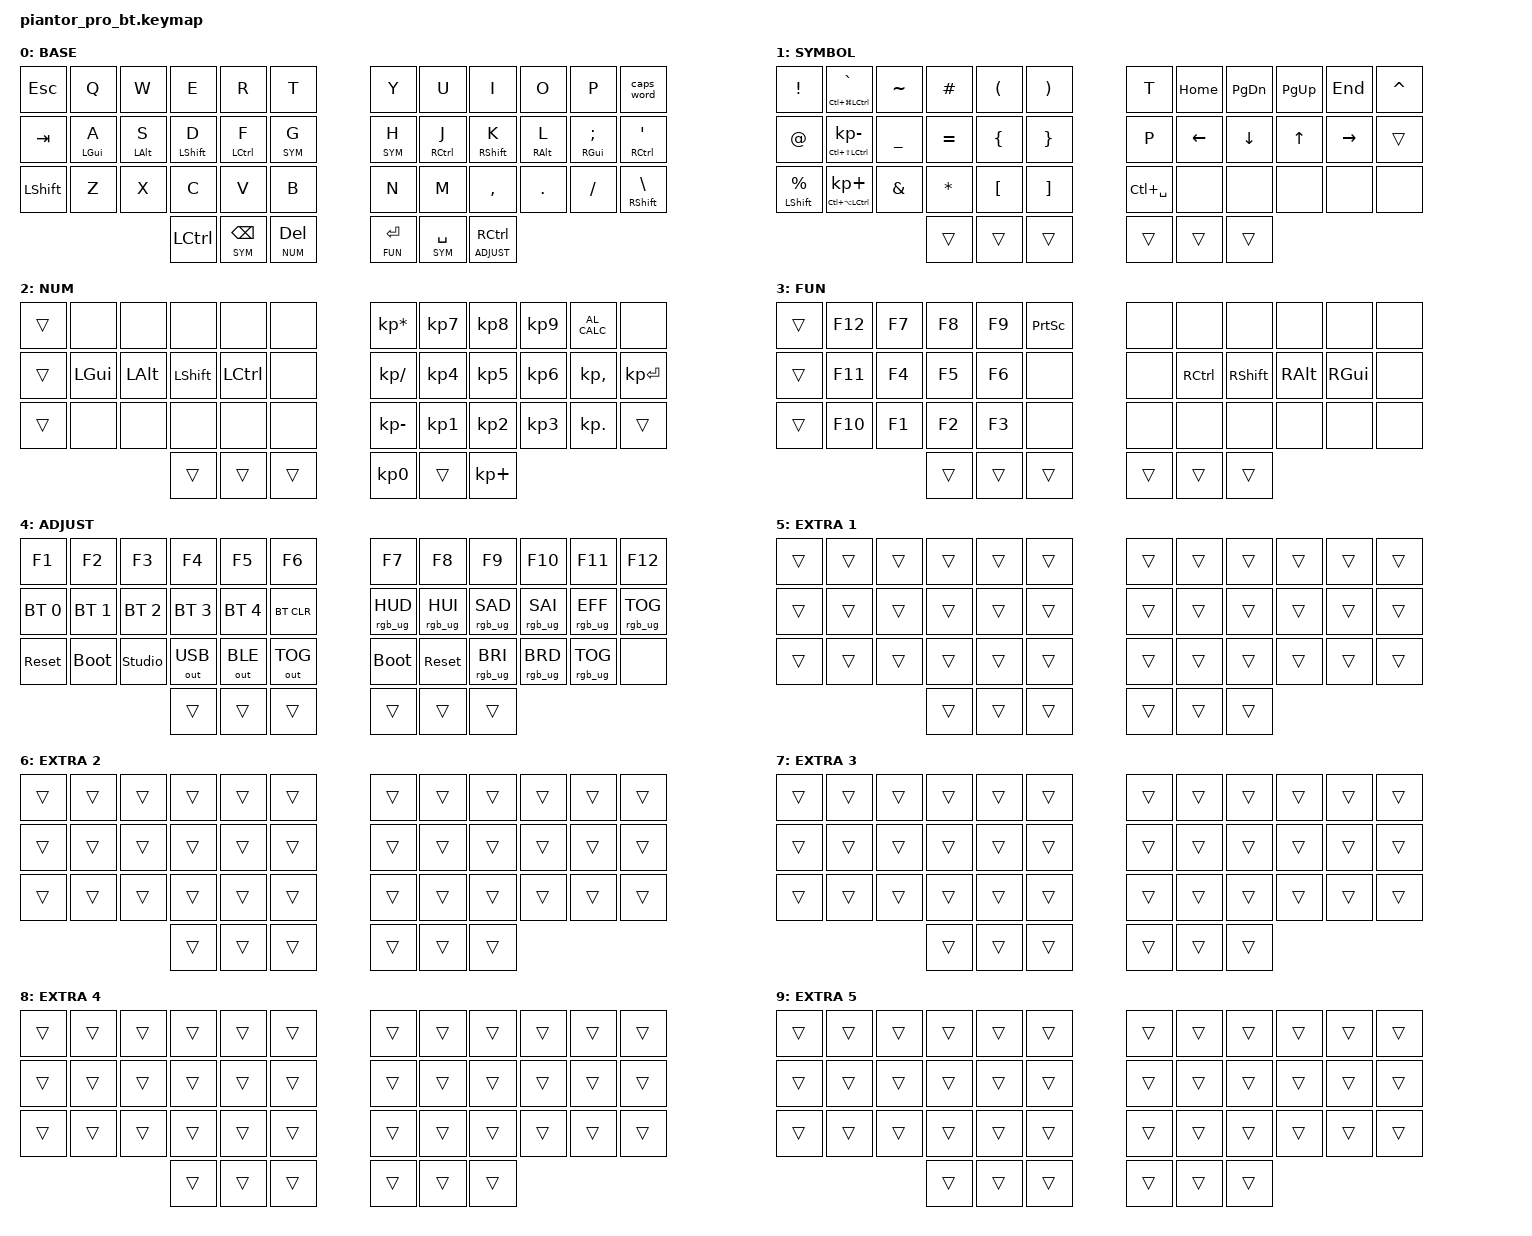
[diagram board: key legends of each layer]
/*
 * Copyright (c) 2020 The ZMK Contributors
 *
 * SPDX-License-Identifier: MIT
 */

#include <behaviors.dtsi>
#include <dt-bindings/zmk/keys.h>
#include <dt-bindings/zmk/bt.h>
#include <dt-bindings/zmk/rgb.h>
#include <dt-bindings/zmk/outputs.h>

/*
 * Port of the QMK keymap in qmk-template/keymap.c to the 42-key Piantor Pro BT.
 *
 * - The QMK number row is not present and is not emulated. Digits live on the
 *   NUM layer's keypad, and F1-F12 live on the FUN layer (Miryoku-style split).
 * - The QMK STD/gaming and POINTER layers are dropped (no pointing device).
 * - QMK layer names: QWERTY -> BASE, SYMB -> SYM, SYMB_EXT -> NUM + FUN,
 *   ADJUST -> ADJUST (merged with the ZMK bluetooth/RGB/system keys).
 * - QMK custom macros (ASC_*, SEL*, M_*, DM_*) are not ported; their positions
 *   are &none.
 *
 * Timing from qmk-template/config.h:
 *   TAPPING_TERM 200   -> tapping-term-ms = <200>
 *   FLOW_TAP_TERM 150  -> require-prior-idle-ms = <150>
 *   QUICK_TAP_TERM 200 -> quick-tap-ms = <200>
 *   PERMISSIVE_HOLD    -> flavor = "balanced"
 *   CHORDAL_HOLD       -> hold-trigger-key-positions + hold-trigger-on-release
 *   SPECULATIVE_HOLD   -> hold-while-undecided (Shift/Ctrl home-row mods only)
 */

#define BASE   0
#define SYM    1
#define NUM    2
#define FUN    3
#define ADJUST 4

/* Key positions per hand, including the thumb keys. */
#define KEYS_L 0 1 2 3 4 5 12 13 14 15 16 17 24 25 26 27 28 29 36 37 38
#define KEYS_R 6 7 8 9 10 11 18 19 20 21 22 23 30 31 32 33 34 35 39 40 41

/* Helper macros for home-row hold-tap behaviors. */
#define MAKE_HRM_EX(NAME, HOLD, TAP, TRIGGER_POS, EXTRA) \
    NAME: NAME {                                         \
        compatible = "zmk,behavior-hold-tap";            \
        #binding-cells = <2>;                            \
        flavor = "balanced";                             \
        tapping-term-ms = <200>;                         \
        quick-tap-ms = <200>;                            \
        require-prior-idle-ms = <150>;                   \
        hold-trigger-key-positions = <TRIGGER_POS>;      \
        hold-trigger-on-release;                         \
        bindings = <HOLD>, <TAP>;                        \
        EXTRA                                            \
    };
#define MAKE_HRM(NAME, HOLD, TAP, TRIGGER_POS) \
    MAKE_HRM_EX(NAME, HOLD, TAP, TRIGGER_POS, )

/* Shorthand keycode aliases. */
#define ___      &trans
#define XXX      &none

/* Home-row mods & G/H layer-taps. */
#define A_GUI    &hml_ag LGUI A
#define S_ALT    &hml_ag LALT S
#define D_SFT    &hml_sc LSHIFT D
#define F_CTL    &hml_sc LCTRL F
#define G_SYM    &hml_lt SYM G
#define H_SYM    &hmr_lt SYM H
#define J_CTL    &hmr_sc RCTRL J
#define K_SFT    &hmr_sc RSHIFT K
#define L_ALT    &hmr_ag RALT L
#define SCLN_GUI &hmr_ag RGUI SEMI
#define SQT_CTL  &hmr_sc RCTRL SQT
#define BSLH_SFT &hmr_sc RSHIFT BSLH

/* Thumb layer-taps. */
#define BSPC_SYM &tlt SYM BSPC
#define DEL_NUM  &tlt NUM DEL
#define RET_FUN  &tlt FUN RET
#define SPC_SYM  &tlt SYM SPACE
#define RCTL_ADJ &tlt ADJUST RCTRL

/* Combined-modifier taps (QMK CTME/CTSH/CTAL). */
#define CTME     &mm LC(LG(LCTRL)) GRAVE
#define CTSH     &mm LC(LS(LCTRL)) KP_MINUS
#define CTAL     &mm LC(LA(LCTRL)) KP_PLUS
#define LSHPRCNT &mt LSHIFT PRCNT

/ {
    chosen {
        zmk,physical-layout = &default_layout;
    };
};

/ {
    behaviors {
        /*
         * Home-row mods & G/H layer-taps. Hold triggers only on the opposite
         * hand. Shift/Ctrl home-row mods also use QMK SPECULATIVE_HOLD
         * (hold-while-undecided).
         */
        MAKE_HRM(hml_ag, &kp, &kp, KEYS_R)
        MAKE_HRM_EX(hml_sc, &kp, &kp, KEYS_R, hold-while-undecided;)
        MAKE_HRM(hmr_ag, &kp, &kp, KEYS_L)
        MAKE_HRM_EX(hmr_sc, &kp, &kp, KEYS_L, hold-while-undecided;)
        MAKE_HRM(hml_lt, &mo, &kp, KEYS_R)
        MAKE_HRM(hmr_lt, &mo, &kp, KEYS_L)

        /*
         * Thumb layer-taps. No positional restriction: ADJUST is only reachable
         * from one thumb and must work with both hands, and the SYM/NUM/FUN
         * thumbs should work with the same-hand keys as well.
         */
        tlt: thumb_layer_tap {
            compatible = "zmk,behavior-hold-tap";
            #binding-cells = <2>;
            flavor = "balanced";
            tapping-term-ms = <200>;
            quick-tap-ms = <200>;
            bindings = <&mo>, <&kp>;
        };

        /* QMK CTME/CTSH/CTAL: combined-modifier holds, keycode taps. */
        mm: multi_mod_tap {
            compatible = "zmk,behavior-hold-tap";
            #binding-cells = <2>;
            flavor = "balanced";
            tapping-term-ms = <200>;
            quick-tap-ms = <200>;
            hold-trigger-key-positions = <KEYS_R>;
            hold-trigger-on-release;
            bindings = <&kp>, <&kp>;
        };
    };
};

/ {
    keymap {
        compatible = "zmk,keymap";

        default_layer {
            display-name = "BASE";
            // -------------------------------------------------------------------   -------------------------------------------------------------------
            // |   ESC    |    Q     |    W     |    E     |    R     |    T     |   |    Y     |    U     |    I     |    O     |    P     |   CAPS   |
            // |   TAB    |  A/GUI   |  S/ALT   |  D/SFT   |  F/CTL   |  G/SYM   |   |  H/SYM   |  J/CTL   |  K/SFT   |  L/ALT   |  ;/GUI   |  '/CTL   |
            // |   LSFT   |    Z     |    X     |    C     |    V     |    B     |   |    N     |    M     |    ,     |    .     |    /     |  \/SFT   |
            // ---------------------------------|   CTL    | BSPC/SYM | DEL/NUM  |   | ENT/FUN  | SPC/SYM  | RCTL/ADJ |---------------------------------
            //                                  ----------------------------------   ----------------------------------
            bindings = <
            // ╭────────────────┬────────────────┬────────────────┬────────────────┬────────────────┬────────────────╮   ╭────────────────┬────────────────┬────────────────┬────────────────┬────────────────┬────────────────╮
                 &kp ESC          &kp Q            &kp W            &kp E            &kp R            &kp T                &kp Y            &kp U            &kp I            &kp O            &kp P            &caps_word
            // ├────────────────┼────────────────┼────────────────┼────────────────┼────────────────┼────────────────┤   ├────────────────┼────────────────┼────────────────┼────────────────┼────────────────┼────────────────┤
                 &kp TAB          A_GUI            S_ALT            D_SFT            F_CTL            G_SYM                H_SYM            J_CTL            K_SFT            L_ALT            SCLN_GUI         SQT_CTL
            // ├────────────────┼────────────────┼────────────────┼────────────────┼────────────────┼────────────────┤   ├────────────────┼────────────────┼────────────────┼────────────────┼────────────────┼────────────────┤
                 &kp LSHIFT       &kp Z            &kp X            &kp C            &kp V            &kp B                &kp N            &kp M            &kp COMMA        &kp DOT          &kp FSLH         BSLH_SFT
            // ╰──────────────────────────────────────────────────┼────────────────┼────────────────┼────────────────┤   ├────────────────┼────────────────┼────────────────┼──────────────────────────────────────────────────╯
                                                                    &kp LCTRL        BSPC_SYM         DEL_NUM              RET_FUN          SPC_SYM          RCTL_ADJ
            //                                                    ╰────────────────┴────────────────┴────────────────╯   ╰────────────────┴────────────────┴────────────────╯
            >;
        };

        sym_layer {
            display-name = "SYMBOL";
            // -------------------------------------------------------------------   -------------------------------------------------------------------
            // |     !    | `/C+GUI  |    ~     |    #     |    (     |    )     |   |    T     |   HOME   |   PGDN   |   PGUP   |   END    |    ^     |
            // |     @    | -/C+SFT  |    _     |    =     |    {     |    }     |   |    P     |   LEFT   |   DOWN   |    UP    |  RIGHT   |          |
            // |   LSFT/% | +/C+ALT  |    &     |    *     |    [     |    ]     |   | CTL+SPC  |          |          |          |          |          |
            // ---------------------------------|          |          |          |   |          |          |          |---------------------------------
            //                                  ----------------------------------   ----------------------------------
            bindings = <
            // ╭────────────────┬────────────────┬────────────────┬────────────────┬────────────────┬────────────────╮   ╭────────────────┬────────────────┬────────────────┬────────────────┬────────────────┬────────────────╮
                 &kp EXCL         CTME             &kp TILDE        &kp HASH         &kp LPAR         &kp RPAR             &kp T            &kp HOME         &kp PG_DN        &kp PG_UP        &kp END          &kp CARET
            // ├────────────────┼────────────────┼────────────────┼────────────────┼────────────────┼────────────────┤   ├────────────────┼────────────────┼────────────────┼────────────────┼────────────────┼────────────────┤
                 &kp AT           CTSH             &kp UNDER        &kp EQUAL        &kp LBRC         &kp RBRC             &kp P            &kp LEFT         &kp DOWN         &kp UP           &kp RIGHT        ___
            // ├────────────────┼────────────────┼────────────────┼────────────────┼────────────────┼────────────────┤   ├────────────────┼────────────────┼────────────────┼────────────────┼────────────────┼────────────────┤
                 LSHPRCNT         CTAL             &kp AMPS         &kp ASTRK        &kp LBKT         &kp RBKT             &kp LC(SPACE)    XXX              XXX              XXX              XXX              XXX
            // ╰──────────────────────────────────────────────────┼────────────────┼────────────────┼────────────────┤   ├────────────────┼────────────────┼────────────────┼──────────────────────────────────────────────────╯
                                                                    ___              ___              ___                  ___              ___              ___
            //                                                    ╰────────────────┴────────────────┴────────────────╯   ╰────────────────┴────────────────┴────────────────╯
            >;
        };

        num_layer {
            display-name = "NUM";
            // -------------------------------------------------------------------   -------------------------------------------------------------------
            // |          |          |          |          |          |          |   |   KP*    |   KP7    |   KP8    |   KP9    |   CALC   |          |
            // |          |   LGUI   |   LALT   |   LSFT   |   LCTL   |          |   |   KP/    |   KP4    |   KP5    |   KP6    |   KP,    |  KP_ENT  |
            // |          |          |          |          |          |          |   |   KP-    |   KP1    |   KP2    |   KP3    |   KP.    |          |
            // ---------------------------------|          |          |          |   |   KP0    |          |   KP+    |---------------------------------
            //                                  ----------------------------------   ----------------------------------
            bindings = <
            // ╭────────────────┬────────────────┬────────────────┬────────────────┬────────────────┬────────────────╮   ╭────────────────┬────────────────┬────────────────┬────────────────┬────────────────┬────────────────╮
                 ___              XXX              XXX              XXX              XXX              XXX                  &kp KP_MULTIPLY  &kp KP_N7        &kp KP_N8        &kp KP_N9        &kp C_AL_CALC    XXX
            // ├────────────────┼────────────────┼────────────────┼────────────────┼────────────────┼────────────────┤   ├────────────────┼────────────────┼────────────────┼────────────────┼────────────────┼────────────────┤
                 ___              &kp LGUI         &kp LALT         &kp LSHIFT       &kp LCTRL        XXX                  &kp KP_DIVIDE    &kp KP_N4        &kp KP_N5        &kp KP_N6        &kp KP_COMMA     &kp KP_ENTER
            // ├────────────────┼────────────────┼────────────────┼────────────────┼────────────────┼────────────────┤   ├────────────────┼────────────────┼────────────────┼────────────────┼────────────────┼────────────────┤
                 ___              XXX              XXX              XXX              XXX              XXX                  &kp KP_MINUS     &kp KP_N1        &kp KP_N2        &kp KP_N3        &kp KP_DOT       ___
            // ╰──────────────────────────────────────────────────┼────────────────┼────────────────┼────────────────┤   ├────────────────┼────────────────┼────────────────┼──────────────────────────────────────────────────╯
                                                                    ___              ___              ___                  &kp KP_N0        ___              &kp KP_PLUS
            //                                                    ╰────────────────┴────────────────┴────────────────╯   ╰────────────────┴────────────────┴────────────────╯
            >;
        };

        fun_layer {
            display-name = "FUN";
            // -------------------------------------------------------------------   -------------------------------------------------------------------
            // |          |   F12    |    F7    |    F8    |    F9    |  PSCRN   |   |          |          |          |          |          |          |
            // |          |   F11    |    F4    |    F5    |    F6    |          |   |          |   RCTL   |   RSFT   |   RALT   |   RGUI   |          |
            // |          |   F10    |    F1    |    F2    |    F3    |          |   |          |          |          |          |          |          |
            // ---------------------------------|          |          |          |   |          |          |          |---------------------------------
            //                                  ----------------------------------   ----------------------------------
            bindings = <
            // ╭────────────────┬────────────────┬────────────────┬────────────────┬────────────────┬────────────────╮   ╭────────────────┬────────────────┬────────────────┬────────────────┬────────────────┬────────────────╮
                 ___              &kp F12          &kp F7           &kp F8           &kp F9           &kp PSCRN            XXX              XXX              XXX              XXX              XXX              XXX
            // ├────────────────┼────────────────┼────────────────┼────────────────┼────────────────┼────────────────┤   ├────────────────┼────────────────┼────────────────┼────────────────┼────────────────┼────────────────┤
                 ___              &kp F11          &kp F4           &kp F5           &kp F6           XXX                  XXX              &kp RCTRL        &kp RSHIFT       &kp RALT         &kp RGUI         XXX
            // ├────────────────┼────────────────┼────────────────┼────────────────┼────────────────┼────────────────┤   ├────────────────┼────────────────┼────────────────┼────────────────┼────────────────┼────────────────┤
                 ___              &kp F10          &kp F1           &kp F2           &kp F3           XXX                  XXX              XXX              XXX              XXX              XXX              XXX
            // ╰──────────────────────────────────────────────────┼────────────────┼────────────────┼────────────────┤   ├────────────────┼────────────────┼────────────────┼──────────────────────────────────────────────────╯
                                                                    ___              ___              ___                  ___              ___              ___
            //                                                    ╰────────────────┴────────────────┴────────────────╯   ╰────────────────┴────────────────┴────────────────╯
            >;
        };

        adjust_layer {
            display-name = "ADJUST";
            // -------------------------------------------------------------------   -------------------------------------------------------------------
            // |    F1    |    F2    |    F3    |    F4    |    F5    |    F6    |   |    F7    |    F8    |    F9    |   F10    |   F11    |   F12    |
            // |   BT0    |   BT1    |   BT2    |   BT3    |   BT4    |  BT_CLR  |   |   RGB-   |   RGB+   |   SAT-   |   SAT+   |  EFFECT  |  TOGGLE  |
            // |   RST    |   BOOT   |  Studio  |   USB    |   BLE    | OUT_TOG  |   |   BOOT   |   RST    |   BRI+   |   BRI-   |  TOGGLE  |          |
            // ---------------------------------|          |          |          |   |          |          |          |---------------------------------
            //                                  ----------------------------------   ----------------------------------
            bindings = <
            // ╭────────────────┬────────────────┬────────────────┬────────────────┬────────────────┬────────────────╮   ╭────────────────┬────────────────┬────────────────┬────────────────┬────────────────┬────────────────╮
                 &kp F1           &kp F2           &kp F3           &kp F4           &kp F5           &kp F6               &kp F7           &kp F8           &kp F9           &kp F10          &kp F11          &kp F12
            // ├────────────────┼────────────────┼────────────────┼────────────────┼────────────────┼────────────────┤   ├────────────────┼────────────────┼────────────────┼────────────────┼────────────────┼────────────────┤
                 &bt BT_SEL 0     &bt BT_SEL 1     &bt BT_SEL 2     &bt BT_SEL 3     &bt BT_SEL 4     &bt BT_CLR           &rgb_ug RGB_HUD  &rgb_ug RGB_HUI  &rgb_ug RGB_SAD  &rgb_ug RGB_SAI  &rgb_ug RGB_EFF  &rgb_ug RGB_TOG
            // ├────────────────┼────────────────┼────────────────┼────────────────┼────────────────┼────────────────┤   ├────────────────┼────────────────┼────────────────┼────────────────┼────────────────┼────────────────┤
                 &sys_reset       &bootloader      &studio_unlock   &out OUT_USB     &out OUT_BLE     &out OUT_TOG         &bootloader      &sys_reset       &rgb_ug RGB_BRI  &rgb_ug RGB_BRD  &rgb_ug RGB_TOG  XXX
            // ╰──────────────────────────────────────────────────┼────────────────┼────────────────┼────────────────┤   ├────────────────┼────────────────┼────────────────┼──────────────────────────────────────────────────╯
                                                                    ___              ___              ___                  ___              ___              ___
            //                                                    ╰────────────────┴────────────────┴────────────────╯   ╰────────────────┴────────────────┴────────────────╯
            >;
        };

        extra_layer_1 {
            display-name = "EXTRA 1";
            bindings = <
                ___ ___ ___ ___ ___ ___   ___ ___ ___ ___ ___ ___
                ___ ___ ___ ___ ___ ___   ___ ___ ___ ___ ___ ___
                ___ ___ ___ ___ ___ ___   ___ ___ ___ ___ ___ ___
                            ___ ___ ___   ___ ___ ___
            >;
        };

        extra_layer_2 {
            display-name = "EXTRA 2";
            bindings = <
                ___ ___ ___ ___ ___ ___   ___ ___ ___ ___ ___ ___
                ___ ___ ___ ___ ___ ___   ___ ___ ___ ___ ___ ___
                ___ ___ ___ ___ ___ ___   ___ ___ ___ ___ ___ ___
                            ___ ___ ___   ___ ___ ___
            >;
        };

        extra_layer_3 {
            display-name = "EXTRA 3";
            bindings = <
                ___ ___ ___ ___ ___ ___   ___ ___ ___ ___ ___ ___
                ___ ___ ___ ___ ___ ___   ___ ___ ___ ___ ___ ___
                ___ ___ ___ ___ ___ ___   ___ ___ ___ ___ ___ ___
                            ___ ___ ___   ___ ___ ___
            >;
        };

        extra_layer_4 {
            display-name = "EXTRA 4";
            bindings = <
                ___ ___ ___ ___ ___ ___   ___ ___ ___ ___ ___ ___
                ___ ___ ___ ___ ___ ___   ___ ___ ___ ___ ___ ___
                ___ ___ ___ ___ ___ ___   ___ ___ ___ ___ ___ ___
                            ___ ___ ___   ___ ___ ___
            >;
        };

        extra_layer_5 {
            display-name = "EXTRA 5";
            bindings = <
                ___ ___ ___ ___ ___ ___   ___ ___ ___ ___ ___ ___
                ___ ___ ___ ___ ___ ___   ___ ___ ___ ___ ___ ___
                ___ ___ ___ ___ ___ ___   ___ ___ ___ ___ ___ ___
                            ___ ___ ___   ___ ___ ___
            >;
        };
    };
};
